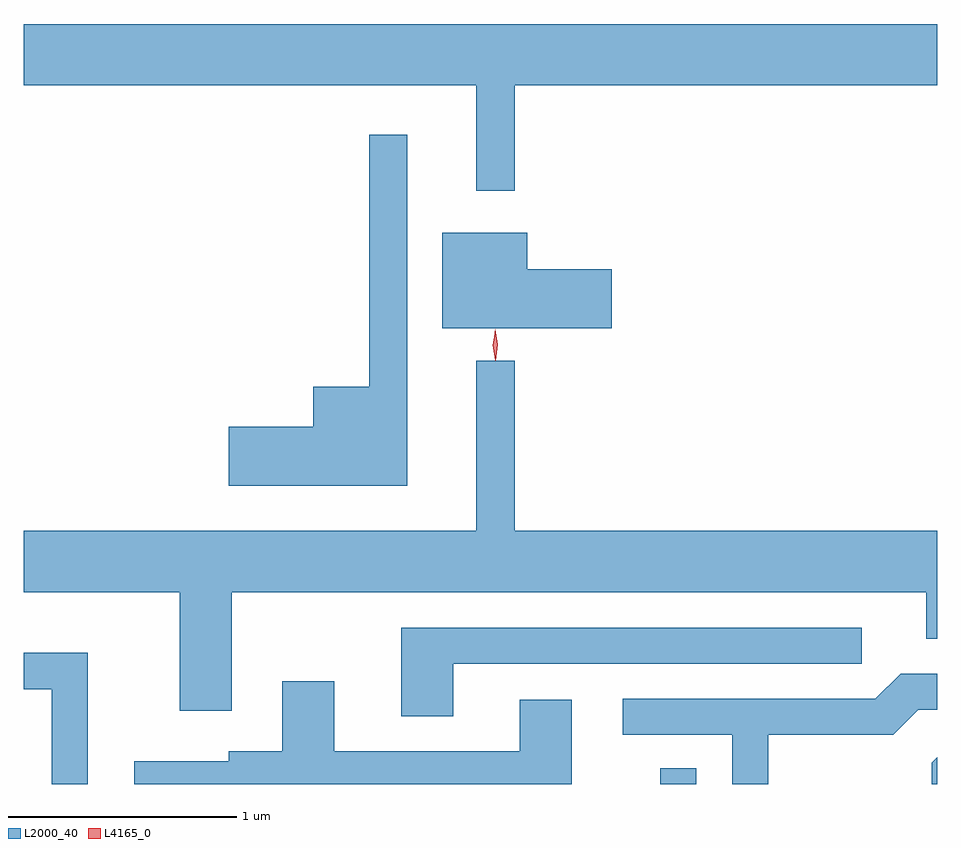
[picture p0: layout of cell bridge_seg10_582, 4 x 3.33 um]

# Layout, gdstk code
import gdstk
lib = gdstk.Library(unit=1e-6, precision=1e-09)
def R(c, l, rs):  # rectangles x0, y0, x1, y1
    for r in rs: c.add(gdstk.rectangle(r[:2], r[2:], *l))
def P(c, l, *ps):  # polygons
    for p in ps: c.add(gdstk.Polygon(p, *l))
L2000_40 = (2000, 40)
L4165_0 = (4165, 0)

bridge_seg10_582 = lib.new_cell('bridge_seg10_582')
R(bridge_seg10_582, L2000_40, [(821.396,2148.595,821.554,2148.663)])
P(bridge_seg10_582, L2000_40, [(820.759,2151.656),(822.609,2151.656),(822.609,2151.924),(818.609,2151.924),(818.609,2151.656),(820.591,2151.656),(820.591,2151.193),(820.759,2151.193)],
  [(820.289,2151.438),(820.121,2151.438),(820.121,2150.334),(819.876,2150.334),(819.876,2150.159),(819.506,2150.159),(819.506,2149.901),(820.289,2149.901)],
  [(821.184,2150.849),(820.814,2150.849),(820.814,2151.009),(820.441,2151.009),(820.441,2150.591),(821.184,2150.591)],
  [(819.519,2149.436),(822.561,2149.436),(822.561,2149.231),(822.609,2149.231),(822.609,2149.704),(820.759,2149.704),(820.759,2150.448),(820.591,2150.448),(820.591,2149.704),(818.609,2149.704),(818.609,2149.436),(819.291,2149.436),(819.291,2148.916),(819.519,2148.916)],
  [(820.489,2149.121),(822.278,2149.121),(822.278,2149.279),(820.261,2149.279),(820.261,2148.891),(820.489,2148.891)],
  [(818.889,2149.169),(818.609,2149.169),(818.609,2149.011),(818.731,2149.011),(818.731,2148.595),(818.889,2148.595)],
  [(821.869,2148.811),(822.417,2148.811),(822.527,2148.921),(822.609,2148.921),(822.609,2149.079),(822.449,2149.079),(822.339,2148.969),(821.233,2148.969),(821.233,2148.811),(821.711,2148.811),(821.711,2148.595),(821.869,2148.595)],
  [(821.009,2148.964),(820.781,2148.964),(820.781,2148.739),(819.969,2148.739),(819.969,2149.044),(819.741,2149.044),(819.741,2148.739),(819.506,2148.739),(819.506,2148.694),(819.093,2148.694),(819.093,2148.595),(821.009,2148.595)],
  [(822.609,2148.712),(822.586,2148.689),(822.586,2148.595),(822.609,2148.595)])
P(bridge_seg10_582, L4165_0, [(820.673,2150.453),(820.673,2150.454),(820.663,2150.516),(820.673,2150.579),(820.673,2150.58),(820.674,2150.579),(820.683,2150.516),(820.674,2150.454)],
  [(820.674,2150.45),(820.664,2150.518),(820.673,2150.586),(820.674,2150.586),(820.674,2150.586),(820.684,2150.518),(820.676,2150.45),(820.675,2150.45)])

lib.write_gds('bridge_seg10_582.gds')
